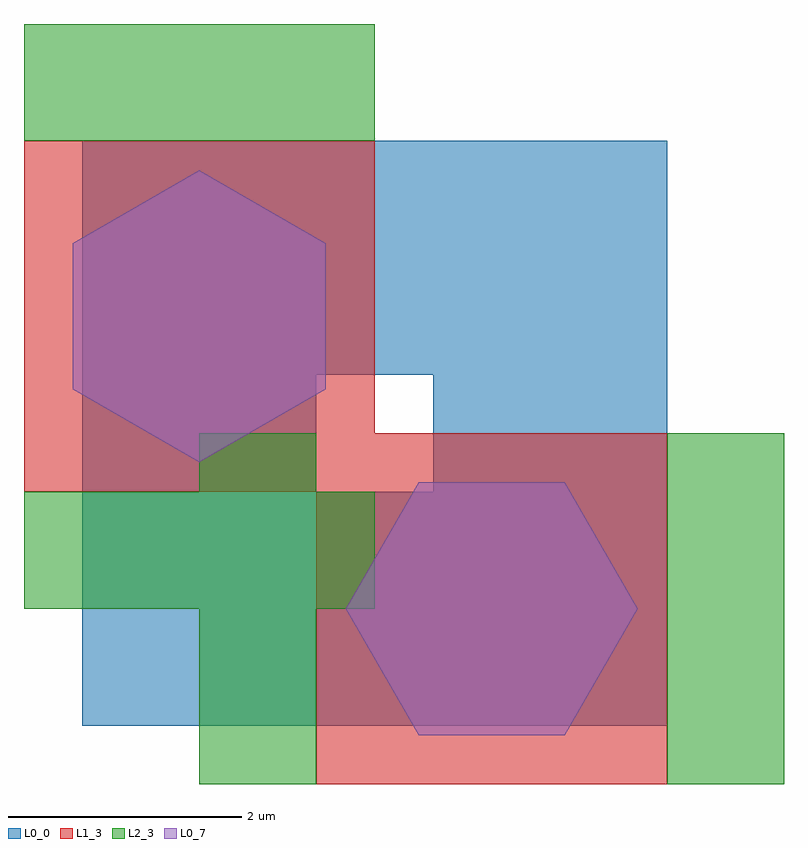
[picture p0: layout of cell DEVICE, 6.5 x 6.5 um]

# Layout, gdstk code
from math import pi, radians
import gdstk
lib = gdstk.Library(unit=1e-6, precision=1e-09)
def R(c, l, rs):  # rectangles x0, y0, x1, y1
    for r in rs: c.add(gdstk.rectangle(r[:2], r[2:], *l))
def P(c, l, *ps):  # polygons
    for p in ps: c.add(gdstk.Polygon(p, *l))
L0_0 = (0, 0)
L0_7 = (0, 7)
L1_3 = (1, 3)
L2_3 = (2, 3)

contact = lib.new_cell('CONTACT')
P(contact, L0_7, [(2.5,0),(1.25,2.165),(-1.25,2.165),(-2.5,0),(-1.25,-2.165),(1.25,-2.165)])
R(contact, L1_3, [(-3,-3,3,3)])
R(contact, L2_3, [(-5,-3,-3,3), (3,-3,5,3)])

device = lib.new_cell('DEVICE')
P(device, L0_0, [(0,0),(5,0),(5,5),(0,5),(0,0),(2,2),(2,3),(3,3),(3,2),(2,2)])
device.add(gdstk.Reference(contact, (3.5,1), magnification=0.5))
device.add(gdstk.Reference(contact, (1,3.5), rotation=pi/2, magnification=0.5))

lib.write_gds('DEVICE.gds')
